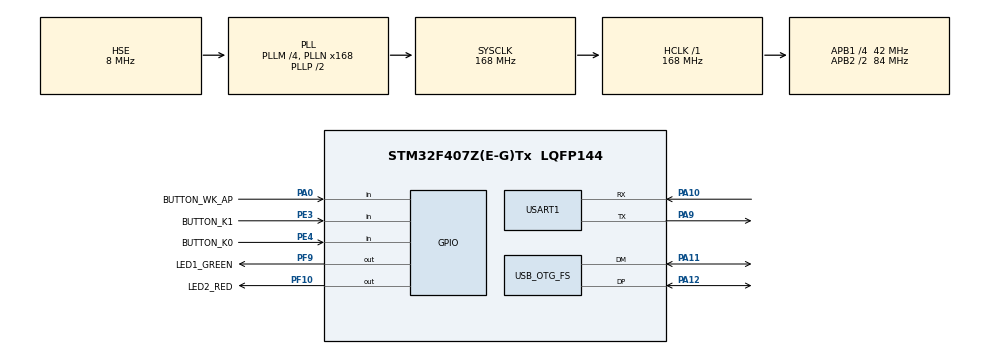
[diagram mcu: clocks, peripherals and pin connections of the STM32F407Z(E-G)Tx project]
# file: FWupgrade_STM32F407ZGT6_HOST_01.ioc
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Mcu.Family=STM32F4
Mcu.Name=STM32F407Z(E-G)Tx
Mcu.Package=LQFP144
NVIC.OTG_FS_IRQn=true\:0\:0\:false\:false\:true\:true\:true\:true
NVIC.PriorityGroup=NVIC_PRIORITYGROUP_4
PA0-WKUP.GPIO_Label=BUTTON_WK_AP
PA0-WKUP.Signal=GPIO_Input
PA10.Mode=Asynchronous
PA10.Signal=USART1_RX
PA11.Mode=Host_Only
PA11.Signal=USB_OTG_FS_DM
PA12.Mode=Host_Only
PA12.Signal=USB_OTG_FS_DP
PA9.Mode=Asynchronous
PA9.Signal=USART1_TX
PE3.GPIO_Label=BUTTON_K1
PE3.GPIO_PuPd=GPIO_PULLUP
PE3.Signal=GPIO_Input
PE4.GPIO_Label=BUTTON_K0
PE4.GPIO_PuPd=GPIO_PULLUP
PE4.Signal=GPIO_Input
PF10.GPIO_Label=LED2_RED
PF10.Signal=GPIO_Output
PF9.GPIO_Label=LED1_GREEN
PF9.Signal=GPIO_Output
PH0-OSC_IN.Mode=HSE-External-Oscillator
PH0-OSC_IN.Signal=RCC_OSC_IN
PH1-OSC_OUT.Mode=HSE-External-Oscillator
PH1-OSC_OUT.Signal=RCC_OSC_OUT
ProjectManager.HeapSize=0x2000
ProjectManager.StackSize=0x4000
ProjectManager.TargetToolchain=MDK-ARM V5.27
RCC.48MHZClocksFreq_Value=48000000
RCC.AHBFreq_Value=168000000
RCC.APB1CLKDivider=RCC_HCLK_DIV4
RCC.APB1Freq_Value=42000000
RCC.APB1TimFreq_Value=84000000
RCC.APB2CLKDivider=RCC_HCLK_DIV2
RCC.APB2Freq_Value=84000000
RCC.APB2TimFreq_Value=168000000
RCC.CortexFreq_Value=168000000
RCC.HCLKFreq_Value=168000000
RCC.HSE_VALUE=8000000
RCC.HSI_VALUE=16000000
RCC.LSE_VALUE=32768
RCC.PLLM=4
RCC.PLLN=168
RCC.PLLQ=7
RCC.SYSCLKFreq_VALUE=168000000
RCC.SYSCLKSource=RCC_SYSCLKSOURCE_PLLCLK
RCC.VCOOutputFreq_Value=336000000
USART1.VirtualMode=VM_ASYNC
USB_HOST.USBH_DEBUG_LEVEL-MSC_FS=2
USB_HOST.USBH_HandleTypeDef-MSC_FS=hUsbHostFS
USB_HOST.USBH_KEEP_CFG_DESCRIPTOR-MSC_FS=1
USB_HOST.USBH_MAX_SIZE_CONFIGURATION-MSC_FS=512
USB_HOST.VirtualModeFS=Msc
USB_OTG_FS.VirtualMode=Host_Only
USB_OTG_FS.phy_itface=HCD_PHY_EMBEDDED
VP_USB_HOST_VS_USB_HOST_MSC_FS.Mode=MSC_FS
board=custom

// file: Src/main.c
/* USER CODE BEGIN Header */
/**
  ******************************************************************************
  * @file           : main.c
  * @brief          : Main program body
  ******************************************************************************
  * @attention
  *
  * <h2><center>&copy; Copyright (c) 2020 STMicroelectronics.
  * All rights reserved.</center></h2>
  *
  * This software component is licensed by ST under Ultimate Liberty license
  * SLA0044, the "License"; You may not use this file except in compliance with
  * the License. You may obtain a copy of the License at:
  *                             www.st.com/SLA0044
  *
  ******************************************************************************
  */
/* USER CODE END Header */
#include "main.h"
#include "fatfs.h"
#include "usb_host.h"

/* USER CODE BEGIN Includes */

#include "stdint.h"
#include "string.h"
#include <stdlib.h>
#include <stdio.h>

/* USER CODE END Includes */

/* USER CODE BEGIN PTD */

GPIO_TypeDef* GPIO_PORT[LEDn] = {LED1_GREEN_GPIO_Port,
                                 LED2_RED_GPIO_Port};

const uint16_t GPIO_PIN[LEDn] = {LED1_GREEN_Pin,
	                               LED2_RED_Pin};

void BSP_LED_On(Led_TypeDef Led)
{
  HAL_GPIO_WritePin(GPIO_PORT[Led], GPIO_PIN[Led], GPIO_PIN_RESET);
}

void BSP_LED_Off(Led_TypeDef Led)
{
  HAL_GPIO_WritePin(GPIO_PORT[Led], GPIO_PIN[Led], GPIO_PIN_SET);
}

void BSP_LED_Toggle(Led_TypeDef Led)
{
  HAL_GPIO_TogglePin(GPIO_PORT[Led], GPIO_PIN[Led]);
}

GPIO_TypeDef* BUTTON_PORT[BUTTONn] = {BUTTON_WK_AP_GPIO_Port,
                                      BUTTON_K0_GPIO_Port,
                                      BUTTON_K1_GPIO_Port};

const uint16_t BUTTON_PIN[BUTTONn] = {BUTTON_WK_AP_Pin,
                                      BUTTON_K0_Pin,
                                      BUTTON_K1_Pin};

const uint16_t BUTTON_IRQn[BUTTONn] = {BUTTON_WK_AP_EXTI_IRQn,
                                       BUTTON_K0_EXTI_IRQn,
                                       BUTTON_K1_EXTI_IRQn};

uint32_t BSP_PB_GetState(Button_TypeDef Button)
{
  return HAL_GPIO_ReadPin(BUTTON_PORT[Button], BUTTON_PIN[Button]);
}

/* USER CODE END PTD */

UART_HandleTypeDef huart1;

/* USER CODE BEGIN PV */

extern ApplicationTypeDef Appli_state;
//FATFS USBDISKFatFs;
//FIL MyFile;
//extern USBH_HandleTypeDef hUsbHostFS;
//char USBH_Path[4];          /* USB Host logical drive path */

/* USER CODE END PV */

void SystemClock_Config(void);
static void MX_GPIO_Init(void);
static void MX_USART1_UART_Init(void);
void MX_USB_HOST_Process(void);

/* USER CODE BEGIN PFP */
//	int file_write = FALSE;
//	int file_read = FALSE;

	#ifdef __GNUC__
  /* With GCC, small printf (option LD Linker->Libraries->Small printf
     set to 'Yes') calls __io_putchar() */
  #define PUTCHAR_PROTOTYPE int __io_putchar(int ch)
#else
  #define PUTCHAR_PROTOTYPE int fputc(int ch, FILE *f)
#endif /* __GNUC__ */

/* USER CODE END PFP */

/* USER CODE BEGIN 0 */
//void FileWrite(void)
//{
//	FRESULT res;
//	uint32_t byteswritten;
////	uint8_t rtext[100];
//	uint8_t wtext[]="Hello from STM32yy!\n\r";

//	if (file_write == FALSE && file_read == FALSE)
//	{
//		if(f_mount(&USBDISKFatFs,(TCHAR const*)USBH_Path,0)!=FR_OK)
//		{
//			Error_Handler();
//		}
//		else
//		{
//			if(f_open(&MyFile,"1234.txt",FA_CREATE_ALWAYS|FA_WRITE)!=FR_OK)
//			{
//				Error_Handler();
//			}
//			else
//			{
//				BSP_LED_On(LED1);
//				res = f_write(&MyFile,wtext,sizeof(wtext),(void*)byteswritten);
//				BSP_LED_Off(LED2);
//				if((byteswritten==0)||(res!=FR_OK))
//				{
//					Error_Handler();
//				}
//				else
//				{
//					BSP_LED_On(LED1);
//					file_write = TRUE;
//					printf("f_close\r\n");
//					f_close(&MyFile);
//					HAL_Delay(1000);
//					BSP_LED_Off(LED1);
//				}
//			}
//		}
//	}
//

//}

//void FileRead(void)
//{
//	FRESULT res;
//	uint32_t bytesread;
//	uint8_t rtext[100];

//		//Read
//
//	if (file_write == TRUE && file_read == FALSE)
//	{

//		if(f_mount(&USBDISKFatFs,(TCHAR const*)USBH_Path,0)!=FR_OK)
//		{
//			Error_Handler();
//		}
//		else
//		{
//			if(f_open(&MyFile,"1234.txt",FA_READ)!=FR_OK)
//			{
//				Error_Handler();
//			}
//			else
//			{
//				res = f_read(&MyFile,rtext,sizeof(rtext),(void*)bytesread);
//				if((bytesread==0)||(res!=FR_OK))
//				{
//					Error_Handler();
//				}
//				else
//				{
//					HAL_UART_Transmit(&huart1,rtext,20,0xFFFF);
//					//rtext[bytesread]=0;//
//					HAL_Delay(100);
//					f_close(&MyFile);
//					BSP_LED_On(LED1);
//					HAL_Delay(500);
//			//		file_read = TRUE;
//					BSP_LED_Off(LED1);
//					printf("\r\nf_close\r\n");
//				}
//			}
//	  }
//  }
//}
/* USER CODE END 0 */

int main(void)
{

  /* MCU Configuration--------------------------------------------------------*/

  /* Reset of all peripherals, Initializes the Flash interface and the Systick. */
  HAL_Init();

  /* Configure the system clock */
  SystemClock_Config();

  /* Initialize all configured peripherals */
  MX_GPIO_Init();
  MX_USART1_UART_Init();
  MX_USB_HOST_Init();
  MX_FATFS_Init();
  /* USER CODE BEGIN 2 */

	BSP_LED_Off(LED1);
	BSP_LED_Off(LED2);
	HAL_Delay(200);
	BSP_LED_On(LED1);
	BSP_LED_On(LED2);
	HAL_Delay(200);
	BSP_LED_Off(LED1);
	BSP_LED_Off(LED2);
	printf("Start system\r\n");

  /* USER CODE END 2 */

  /* Infinite loop */
  while (1)
  {
    MX_USB_HOST_Process();

    /* USER CODE BEGIN 3 */

		if(Appli_state==APPLICATION_START)
		{
			HAL_Delay(500);
			Appli_state=APPLICATION_READY;
		}
		else if(Appli_state==APPLICATION_IDLE)
		{
			if(Appli_state==APPLICATION_DISCONNECT)
			{
				BSP_LED_Off(LED1);
				BSP_LED_Off(LED2);
			}
		}
		else if(Appli_state==APPLICATION_READY)
		{
//			FileWrite();
//			FileRead();
			HAL_Delay(500);
			BSP_LED_On(LED1);
			BSP_LED_Off(LED2);
			Appli_state=APPLICATION_IDLE;

		}
//		else if(Appli_state==APPLICATION_DISCONNECT)
//		{
//			BSP_LED_Off(LED1);
//			BSP_LED_Off(LED2);
//		}

  }
  /* USER CODE END 3 */
}

void SystemClock_Config(void)
{
  RCC_OscInitTypeDef RCC_OscInitStruct = {0};
  RCC_ClkInitTypeDef RCC_ClkInitStruct = {0};

  /** Configure the main internal regulator output voltage
  */
  __HAL_RCC_PWR_CLK_ENABLE();
  __HAL_PWR_VOLTAGESCALING_CONFIG(PWR_REGULATOR_VOLTAGE_SCALE1);

  /** Initializes the RCC Oscillators according to the specified parameters
  * in the RCC_OscInitTypeDef structure.
  */
  RCC_OscInitStruct.OscillatorType = RCC_OSCILLATORTYPE_HSE;
  RCC_OscInitStruct.HSEState = RCC_HSE_ON;
  RCC_OscInitStruct.PLL.PLLState = RCC_PLL_ON;
  RCC_OscInitStruct.PLL.PLLSource = RCC_PLLSOURCE_HSE;
  RCC_OscInitStruct.PLL.PLLM = 4;
  RCC_OscInitStruct.PLL.PLLN = 168;
  RCC_OscInitStruct.PLL.PLLP = RCC_PLLP_DIV2;
  RCC_OscInitStruct.PLL.PLLQ = 7;
  if (HAL_RCC_OscConfig(&RCC_OscInitStruct) != HAL_OK)
  {
    Error_Handler();
  }

  /** Initializes the CPU, AHB and APB buses clocks
  */
  RCC_ClkInitStruct.ClockType = RCC_CLOCKTYPE_HCLK|RCC_CLOCKTYPE_SYSCLK
                              |RCC_CLOCKTYPE_PCLK1|RCC_CLOCKTYPE_PCLK2;
  RCC_ClkInitStruct.SYSCLKSource = RCC_SYSCLKSOURCE_PLLCLK;
  RCC_ClkInitStruct.AHBCLKDivider = RCC_SYSCLK_DIV1;
  RCC_ClkInitStruct.APB1CLKDivider = RCC_HCLK_DIV4;
  RCC_ClkInitStruct.APB2CLKDivider = RCC_HCLK_DIV2;

  if (HAL_RCC_ClockConfig(&RCC_ClkInitStruct, FLASH_LATENCY_5) != HAL_OK)
  {
    Error_Handler();
  }
}

static void MX_USART1_UART_Init(void)
{

  huart1.Instance = USART1;
  huart1.Init.BaudRate = 115200;
  huart1.Init.WordLength = UART_WORDLENGTH_8B;
  huart1.Init.StopBits = UART_STOPBITS_1;
  huart1.Init.Parity = UART_PARITY_NONE;
  huart1.Init.Mode = UART_MODE_TX_RX;
  huart1.Init.HwFlowCtl = UART_HWCONTROL_NONE;
  huart1.Init.OverSampling = UART_OVERSAMPLING_16;
  if (HAL_UART_Init(&huart1) != HAL_OK)
  {
    Error_Handler();
  }

}

static void MX_GPIO_Init(void)
{
  GPIO_InitTypeDef GPIO_InitStruct = {0};

  /* GPIO Ports Clock Enable */
  __HAL_RCC_GPIOE_CLK_ENABLE();
  __HAL_RCC_GPIOF_CLK_ENABLE();
  __HAL_RCC_GPIOH_CLK_ENABLE();
  __HAL_RCC_GPIOA_CLK_ENABLE();

  /*Configure GPIO pin Output Level */
  HAL_GPIO_WritePin(GPIOF, LED1_GREEN_Pin|LED2_RED_Pin, GPIO_PIN_RESET);

  /*Configure GPIO pins : BUTTON_K1_Pin BUTTON_K0_Pin */
  GPIO_InitStruct.Pin = BUTTON_K1_Pin|BUTTON_K0_Pin;
  GPIO_InitStruct.Mode = GPIO_MODE_INPUT;
  GPIO_InitStruct.Pull = GPIO_PULLUP;
  HAL_GPIO_Init(GPIOE, &GPIO_InitStruct);

  /*Configure GPIO pins : LED1_GREEN_Pin LED2_RED_Pin */
  GPIO_InitStruct.Pin = LED1_GREEN_Pin|LED2_RED_Pin;
  GPIO_InitStruct.Mode = GPIO_MODE_OUTPUT_PP;
  GPIO_InitStruct.Pull = GPIO_NOPULL;
  GPIO_InitStruct.Speed = GPIO_SPEED_FREQ_LOW;
  HAL_GPIO_Init(GPIOF, &GPIO_InitStruct);

  /*Configure GPIO pin : BUTTON_WK_AP_Pin */
  GPIO_InitStruct.Pin = BUTTON_WK_AP_Pin;
  GPIO_InitStruct.Mode = GPIO_MODE_INPUT;
  GPIO_InitStruct.Pull = GPIO_NOPULL;
  HAL_GPIO_Init(BUTTON_WK_AP_GPIO_Port, &GPIO_InitStruct);

}

/* USER CODE BEGIN 4 */

PUTCHAR_PROTOTYPE
{
  /* Place your implementation of fputc here */
  /* e.g. write a character to the EVAL_COM1 and Loop until the end of transmission */
  HAL_UART_Transmit(&huart1, (uint8_t *)&ch, 1, 0xFFFF);

  return ch;
}

/* USER CODE END 4 */

void Error_Handler(void)
{
  /* USER CODE BEGIN Error_Handler_Debug */
  /* User can add his own implementation to report the HAL error return state */
	BSP_LED_Toggle(LED2);
	HAL_Delay(100);
	BSP_LED_Toggle(LED2);
	HAL_Delay(100);
	BSP_LED_Toggle(LED2);
	HAL_Delay(100);
	BSP_LED_Toggle(LED2);
	//	BSP_LED_On(LED2);
//  while(1)
//  {
//  }
  /* USER CODE END Error_Handler_Debug */
}
